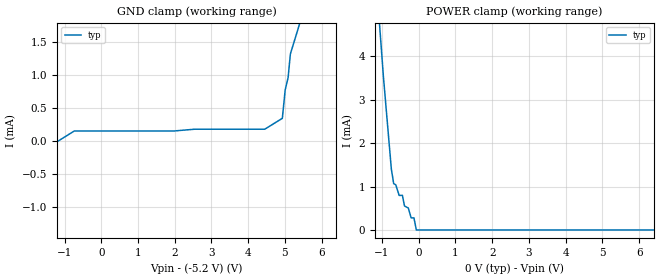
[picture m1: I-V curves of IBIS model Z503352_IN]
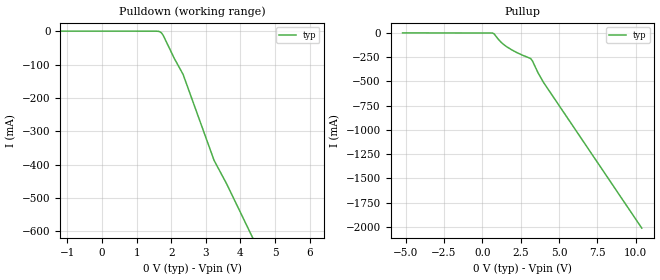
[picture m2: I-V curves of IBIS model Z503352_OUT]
| YOU ARE ONLY AUTHORIZED TO USE THIS SOFTWARE
| ACCORDING TO LICENSOR'S LICENSE RESTRICTIONS.
[IBIS Ver] 3.1
[File Name] mc10164l.ibs
[File Rev] 2.0
[Source] Measured and created by ICX Technology
[Date] Friday 7/14/00 9:07:46 AM
[Copyright]
| (C) COPYRIGHT 1993-2000
| MENTOR GRAPHICS CORPORATION
| ICX STANDARD LIBRARY, ICX PROJECT MODELING,
| ICX CUSTOM MODELING, ICX VENDOR MODEL
| ALL RIGHTS RESERVED.
| THE FOLLOWING ARE TRADEMARKS OR SERVICE MARKS OF
| MENTOR GRAPHICS CORPORATION:ICX (R), ICX STANDARD
| LIBRARY(R), ICX PROJECT MODELING(R), ICX CUSTOM
| MODELING(R), qualityIBIS(TM), MODELVIEWER(TM),
| AND MODELEDITOR(TM)
| ALL COPIES OF SOFTWARE, INCLUDING BUT NOT LIMITED TO
| ANY MODIFICATIONS, ENHANCEMENTS OR DERIVATIVE WORKS,
| MUST CONTAIN ALL MENTOR GRAPHICS CORPORATION'S
| NOTICES AND LEGENDS, INCLUDING THOSE EMBEDDED IN
| SOFTWARE AND THOSE AFFIXED TO SOFTWARE MEDIUM
| AND CONTAINER, AS RECEIVED FROM MENTOR GRAPHICS
| CORPORATION.
|  ZAP Model Builder 2.7
[Component] MC10164L
[Manufacturer] OnSemiconductor
[Package]
| variable   typ   min   max
R_pkg  .212ohms NA NA
L_pkg  4.758nH NA NA
C_pkg  1.944pF NA NA
[Pin] signal_name  model_name  R_pin  L_pin C_pin
1 VCC2 POWER .224 7.258n 2.683p
2 _EN Z503352_IN .216 5.258n 2.19p
3 X3 Z503352_IN .208 3.758n 1.697p
4 X2 Z503352_IN .2 2.758n 1.204p
5 X1 Z503352_IN .2 2.758n 1.204p
6 X0 Z503352_IN .208 3.758n 1.697p
7 A Z503352_IN .216 5.258n 2.19p
8 VEE POWER .224 7.258n 2.683p
9 B Z503352_IN .224 7.258n 2.683p
10 C Z503352_IN .216 5.258n 2.19p
11 X4 Z503352_IN .208 3.758n 1.697p
12 X5 Z503352_IN .2 2.758n 1.204p
13 X6 Z503352_IN .2 2.758n 1.204p
14 X7 Z503352_IN .208 3.758n 1.697p
15 Z Z503352_OUT .216 5.258n 2.19p
16 VCC1 POWER .224 7.258n 2.683p
| Models and submodels in the file (2): Z503352_IN (Input_ECL), Z503352_OUT (Output_ECL)
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| (C) COPYRIGHT 1993-2000
| MENTOR GRAPHICS CORPORATION
| ICX STANDARD LIBRARY, ICX PROJECT MODELING,
| ICX CUSTOM MODELING, ICX VENDOR MODEL
| ALL RIGHTS RESERVED.
| THE FOLLOWING ARE TRADEMARKS OR SERVICE MARKS OF
| MENTOR GRAPHICS CORPORATION:ICX (R), ICX STANDARD
| LIBRARY(R), ICX PROJECT MODELING(R), ICX CUSTOM
| MODELING(R), qualityIBIS(TM), MODELVIEWER(TM),
| AND MODELEDITOR(TM)
| ALL COPIES OF SOFTWARE, INCLUDING BUT NOT LIMITED TO
| ANY MODIFICATIONS, ENHANCEMENTS OR DERIVATIVE WORKS,
| MUST CONTAIN ALL MENTOR GRAPHICS CORPORATION'S
| NOTICES AND LEGENDS, INCLUDING THOSE EMBEDDED IN
| SOFTWARE AND THOSE AFFIXED TO SOFTWARE MEDIUM
| AND CONTAINER, AS RECEIVED FROM MENTOR GRAPHICS
| CORPORATION.
| Model Application Version 1.89 2/18/99.
[Model] Z503352_IN
Model_type Input_ECL
Vinl = -1.475V
Vinh = -1.105V
C_comp 4.000pF NA NA
| variable typ   min   max
[Voltage Range] -5.200V NA NA
[GND Clamp Reference] -5.200V NA NA
[POWER Clamp Reference] 0.000V NA NA
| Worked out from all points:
|   POWER clamp passes 1 mA (typ) near -0.61 V on its own axis
[GND Clamp]
-5.2V     -1.392mA   NA         NA
-735mV    156.9uA    NA         NA
1.977V    156.9uA    NA         NA
2.539V    183.7uA    NA         NA
4.453V    183.7uA    NA         NA
4.932V    348.8uA    NA         NA
5.01V     781.1uA    NA         NA
5.088V    962.6uA    NA         NA
5.151V    1.323mA    NA         NA
10.4V     10.84mA    NA         NA
[POWER Clamp]
-5.2V     71.34mA    NA         NA
-1.687V   11.77mA    NA         NA
-961.9mV  3.521mA    NA         NA
-746.3mV  1.399mA    NA         NA
-683.6mV  1.068mA    NA         NA
-445.4mV  796.2uA    NA         NA
-388.6mV  552.1uA    NA         NA
-284.8mV  505.3uA    NA         NA
-208mV    278.7uA    NA         NA
-131.2mV  278.7uA    NA         NA
-65.6mV   0A         NA         NA
10.4V     0A         NA         NA
| (C) COPYRIGHT 1993-2000
| MENTOR GRAPHICS CORPORATION
| ICX STANDARD LIBRARY, ICX PROJECT MODELING,
| ICX CUSTOM MODELING, ICX VENDOR MODEL
| ALL RIGHTS RESERVED.
| THE FOLLOWING ARE TRADEMARKS OR SERVICE MARKS OF
| MENTOR GRAPHICS CORPORATION:ICX (R), ICX STANDARD
| LIBRARY(R), ICX PROJECT MODELING(R), ICX CUSTOM
| MODELING(R), qualityIBIS(TM), MODELVIEWER(TM),
| AND MODELEDITOR(TM)
| ALL COPIES OF SOFTWARE, INCLUDING BUT NOT LIMITED TO
| ANY MODIFICATIONS, ENHANCEMENTS OR DERIVATIVE WORKS,
| MUST CONTAIN ALL MENTOR GRAPHICS CORPORATION'S
| NOTICES AND LEGENDS, INCLUDING THOSE EMBEDDED IN
| SOFTWARE AND THOSE AFFIXED TO SOFTWARE MEDIUM
| AND CONTAINER, AS RECEIVED FROM MENTOR GRAPHICS
| CORPORATION.
| Model Application Version 1.89 2/18/99.
[Model] Z503352_OUT
Model_type Output_ECL
Vref=-2.000V
Rref=50.00ohms
Cref=0.000F
Vmeas=-1.290V
C_comp 8.000pF NA NA
| variable typ   min   max
[Voltage Range] -5.200V NA NA
[POWER Clamp Reference] 0.000V NA NA
[Pullup Reference] 0.000V NA NA
[Pulldown Reference] 0.000V NA NA
[GND Clamp Reference] -5.200V NA NA
[GND Clamp]
-5.2V     0A         NA         NA
10.4V     0A         NA         NA
[Pulldown]
-5.2V     230.3uA    NA         NA
1.664V    -1.352mA   NA         NA
1.718V    -5.174mA   NA         NA
1.772V    -13.33mA   NA         NA
2.09V     -81.93mA   NA         NA
2.344V    -129.9mA   NA         NA
3.237V    -387mA     NA         NA
3.604V    -458.1mA   NA         NA
10.4V     -1.919A    NA         NA
[Pullup]
-5.2V     1.191mA    NA         NA
664.1mV   -617.5uA   NA         NA
761.7mV   -7.398mA   NA         NA
1.237V    -97.46mA   NA         NA
1.607V    -143.4mA   NA         NA
2.188V    -196.9mA   NA         NA
3.174V    -266.8mA   NA         NA
3.267V    -287.6mA   NA         NA
3.632V    -410.1mA   NA         NA
3.986V    -508.5mA   NA         NA
10.4V     -2.013A    NA         NA
[POWER Clamp]
-5.2V     0A         NA         NA
10.4V     0A         NA         NA
[Ramp]
| variable typ min max
dV/dt_r 566.4m/2.275n NA NA
dV/dt_f 566.4m/1.928n NA NA
R_load = 500.0Ohms
